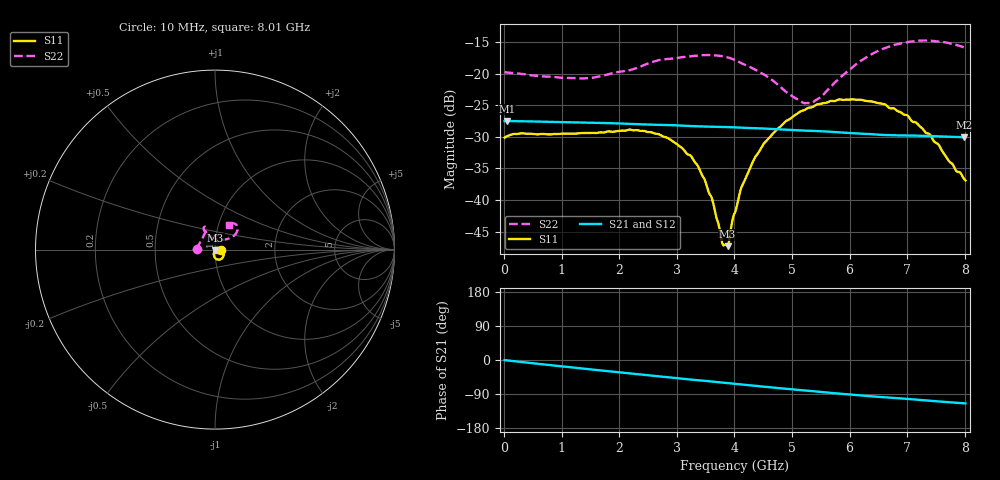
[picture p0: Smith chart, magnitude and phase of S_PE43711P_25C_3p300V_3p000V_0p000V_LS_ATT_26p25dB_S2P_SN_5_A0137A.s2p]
! Device ID: PE43711P
! File Path: z:\PE43711P\CHAR_NOM_04282014\AMB\3p300\LS_ATT_26p25dB\PE43711P_AMB_3p300V_3p000V_0p000V_LS_ATT_26p25dB_S2P_SN_5_A0137A.s2p
! Serial: 5
! Lot: A0137A
! Temp: 25C
! VDD: 3.300
! VSS: 0.000
! Control_Hi: 3.000
! Control_Lo: 0.000
! Attenuation Step: 26.25dB
! Port 1: RF1
! Port 2: RF2
! ThroughPath:1-2
! IDD: 0.0001273743
! ISS: -1.046e-007
#  Hz  S  RI  R  50
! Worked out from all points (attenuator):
!   801 points, 10 MHz to 8.01 GHz, reference 50 ohm
!   highest |S21| = -27.51 dB at 50 MHz (marker M1); lowest = -30.1 dB at 7.99 GHz (marker M2)
!   lowest |S11| = -47.3 dB at 3.88 GHz (marker M3), VSWR 1.01, Z = 50.2 - j0.398 ohm
!   |S11| at or under -10 dB: start of sweep to end of sweep
!   |S22| runs from -24.7 to -14.8 dB; largest |S21 - S12| = 8.9e-05
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1e7  0.0311 0.000429  0.0421 -0.000178  0.0422 -0.000161  -0.1027 0.000838
5e7  0.0319 0.000823  0.0421 -0.000653  0.0422 -0.000668  -0.1019 0.00292
1.35e9  0.0338 -0.00119  0.038 -0.0156  0.038 -0.0156  -0.0765 0.0501
2.19e9  0.036 0.00116  0.0325 -0.0233  0.0325 -0.0233  -0.0551 0.0912
2.68e9  0.0329 0.00441  0.0288 -0.0268  0.0288 -0.0268  -0.0521 0.1162
3.06e9  0.0257 0.00571  0.0255 -0.0293  0.0255 -0.0293  -0.0532 0.1232
3.35e9  0.0185 0.00471  0.023 -0.0306  0.023 -0.0306  -0.0557 0.1266
3.61e9  0.0102 0.00124  0.0208 -0.0318  0.0208 -0.0318  -0.0603 0.1257
3.79e9  0.00404 -0.00206  0.0192 -0.0326  0.0192 -0.0326  -0.0631 0.1217
3.88e9  0.00171 -0.00397  0.0184 -0.033  0.0183 -0.033  -0.0633 0.1181
4.01e9  -0.00139 -0.00784  0.0171 -0.0334  0.0171 -0.0335  -0.0627 0.1114
4.15e9  -0.00399 -0.0128  0.0157 -0.0338  0.0157 -0.0339  -0.0584 0.104
4.51e9  -0.00745 -0.0269  0.0124 -0.0346  0.0124 -0.0346  -0.0435 0.0883
4.9e9  -0.0029 -0.0421  0.00873 -0.0349  0.00868 -0.0349  -0.019 0.0688
5.19e9  0.00503 -0.0507  0.00618 -0.0349  0.00616 -0.0349  0.00472 0.0586
5.35e9  0.0102 -0.0532  0.00481 -0.0349  0.00481 -0.0349  0.0211 0.0547
6.05e9  0.0378 -0.0499  -0.00103 -0.0338  -0.00105 -0.0338  0.0904 0.067
6.68e9  0.0473 -0.0256  -0.00517 -0.0322  -0.00514 -0.0322  0.1239 0.106
7e9  0.0447 -0.014  -0.00706 -0.0316  -0.00705 -0.0316  0.1255 0.1248
7.39e9  0.033 -0.00277  -0.00961 -0.0306  -0.00962 -0.0306  0.1124 0.1436
7.99e9  0.0145 -0.000896  -0.0129 -0.0286  -0.013 -0.0286  0.0782 0.1408
8.01e9  0.0142 -0.00143  -0.013 -0.0285  -0.0131 -0.0285  0.077 0.1398
